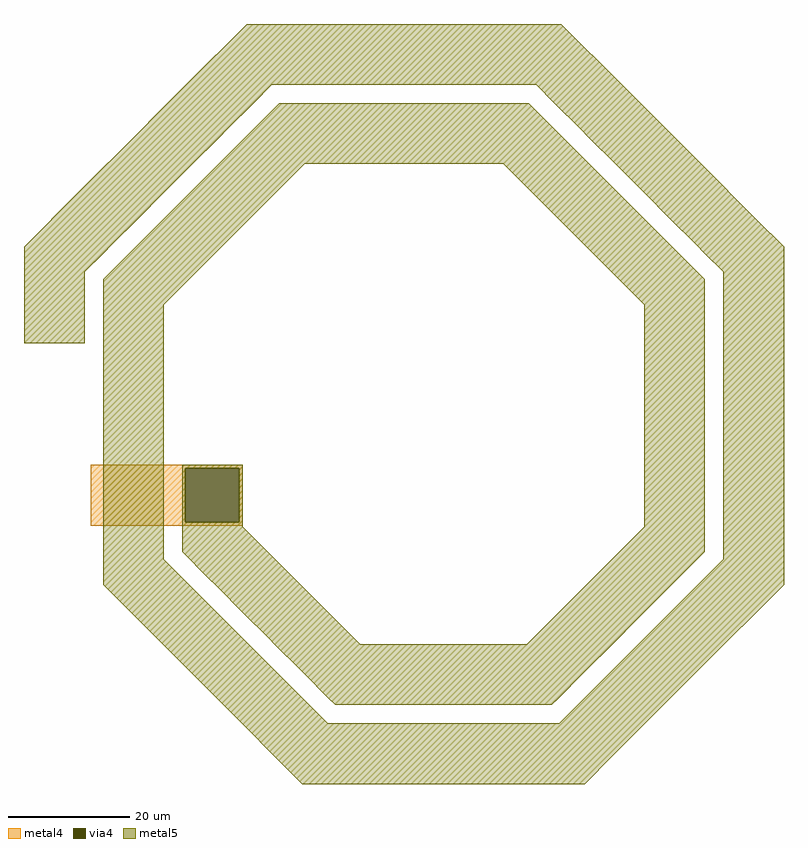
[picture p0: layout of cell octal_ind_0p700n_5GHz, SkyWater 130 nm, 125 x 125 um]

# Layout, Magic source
magic
tech sky130A
magscale 1 2
<< metal4 >>
rect -31600 -22112 -26600 -22000
rect -31600 -23888 -28488 -22112
rect -26712 -23888 -26600 -22112
rect -31600 -24000 -26600 -23888
<< via4 >>
rect -28488 -23888 -26712 -22112
<< metal5 >>
tri -28478 -9500 -26478 -7500 se
rect -26478 -9500 -16122 -7500
tri -16122 -9500 -14122 -7500 sw
tri -29200 -10222 -28478 -9500 se
rect -28478 -10100 -26249 -9500
tri -26249 -10100 -25649 -9500 nw
tri -16951 -10100 -16351 -9500 ne
rect -16351 -10100 -14122 -9500
rect -28478 -10222 -27097 -10100
tri -30230 -11252 -29200 -10222 se
rect -29200 -10948 -27097 -10222
tri -27097 -10948 -26249 -10100 nw
tri -26249 -10948 -25401 -10100 se
rect -25401 -10948 -17199 -10100
tri -17199 -10948 -16351 -10100 sw
tri -16351 -10948 -15503 -10100 ne
rect -15503 -10948 -14122 -10100
rect -29200 -11252 -27401 -10948
tri -27401 -11252 -27097 -10948 nw
tri -26553 -11252 -26249 -10948 se
rect -26249 -11252 -16351 -10948
tri -16351 -11252 -16047 -10948 sw
tri -15503 -11252 -15199 -10948 ne
rect -15199 -11252 -14122 -10948
tri -31800 -12822 -30230 -11252 se
rect -30230 -12100 -28249 -11252
tri -28249 -12100 -27401 -11252 nw
tri -27401 -12100 -26553 -11252 se
rect -26553 -12100 -16047 -11252
tri -16047 -12100 -15199 -11252 sw
tri -15199 -12100 -14351 -11252 ne
rect -14351 -12100 -14122 -11252
tri -14122 -12100 -11522 -9500 sw
rect -30230 -12822 -29097 -12100
tri -32029 -13051 -31800 -12822 se
rect -31800 -12948 -29097 -12822
tri -29097 -12948 -28249 -12100 nw
tri -28249 -12948 -27401 -12100 se
rect -31800 -13051 -29200 -12948
tri -29200 -13051 -29097 -12948 nw
tri -28352 -13051 -28249 -12948 se
rect -28249 -13051 -27401 -12948
tri -33800 -14822 -32029 -13051 se
rect -32029 -13899 -30048 -13051
tri -30048 -13899 -29200 -13051 nw
tri -29200 -13899 -28352 -13051 se
rect -28352 -13899 -27401 -13051
rect -32029 -14747 -30896 -13899
tri -30896 -14747 -30048 -13899 nw
tri -30048 -14747 -29200 -13899 se
rect -29200 -14747 -27401 -13899
rect -32029 -14822 -31200 -14747
rect -33800 -15051 -31200 -14822
tri -31200 -15051 -30896 -14747 nw
tri -30352 -15051 -30048 -14747 se
rect -30048 -14929 -27401 -14747
tri -27401 -14929 -24572 -12100 nw
tri -18028 -14929 -15199 -12100 ne
tri -15199 -12948 -14351 -12100 sw
tri -14351 -12948 -13503 -12100 ne
rect -13503 -12948 -11522 -12100
rect -15199 -13051 -14351 -12948
tri -14351 -13051 -14248 -12948 sw
tri -13503 -13051 -13400 -12948 ne
rect -13400 -13051 -11522 -12948
rect -15199 -13899 -14248 -13051
tri -14248 -13899 -13400 -13051 sw
tri -13400 -13899 -12552 -13051 ne
rect -12552 -13899 -11522 -13051
tri -11522 -13899 -9723 -12100 sw
rect -15199 -14747 -13400 -13899
tri -13400 -14747 -12552 -13899 sw
tri -12552 -14747 -11704 -13899 ne
rect -11704 -14747 -9723 -13899
rect -15199 -14929 -12552 -14747
rect -30048 -15051 -29200 -14929
rect -33800 -18000 -31800 -15051
tri -31800 -15651 -31200 -15051 nw
tri -31200 -15899 -30352 -15051 se
rect -30352 -15899 -29200 -15051
rect -31200 -25711 -29200 -15899
tri -29200 -16728 -27401 -14929 nw
tri -15199 -16728 -13400 -14929 ne
rect -13400 -15051 -12552 -14929
tri -12552 -15051 -12248 -14747 sw
tri -11704 -15051 -11400 -14747 ne
rect -11400 -14822 -9723 -14747
tri -9723 -14822 -8800 -13899 sw
rect -11400 -15051 -8800 -14822
rect -13400 -15899 -12248 -15051
tri -12248 -15899 -11400 -15051 sw
tri -11400 -15651 -10800 -15051 ne
rect -28600 -22112 -26600 -22000
rect -28600 -23888 -28488 -22112
rect -26712 -23888 -26600 -22112
rect -28600 -24862 -26600 -23888
tri -29200 -25711 -28600 -25111 sw
tri -28600 -25711 -27751 -24862 ne
rect -27751 -25711 -26600 -24862
rect -31200 -25939 -28600 -25711
tri -31200 -26862 -30277 -25939 ne
rect -30277 -26013 -28600 -25939
tri -28600 -26013 -28298 -25711 sw
tri -27751 -26013 -27449 -25711 ne
rect -27449 -26013 -26600 -25711
rect -30277 -26862 -28298 -26013
tri -28298 -26862 -27449 -26013 sw
tri -27449 -26862 -26600 -26013 ne
tri -26600 -26862 -23772 -24034 sw
tri -14438 -25072 -13400 -24034 se
rect -13400 -24862 -11400 -15899
rect -13400 -25072 -11649 -24862
tri -16228 -26862 -14438 -25072 se
rect -14438 -25111 -11649 -25072
tri -11649 -25111 -11400 -24862 nw
rect -14438 -25921 -12459 -25111
tri -12459 -25921 -11649 -25111 nw
tri -11610 -25921 -10800 -25111 se
rect -10800 -25921 -8800 -15051
rect -14438 -26770 -13308 -25921
tri -13308 -26770 -12459 -25921 nw
tri -12459 -26770 -11610 -25921 se
rect -11610 -25939 -8800 -25921
rect -14438 -26862 -13589 -26770
tri -30277 -29690 -27449 -26862 ne
tri -27449 -27711 -26600 -26862 sw
tri -26600 -27711 -25751 -26862 ne
rect -25751 -27711 -23772 -26862
rect -27449 -27900 -26600 -27711
tri -26600 -27900 -26411 -27711 sw
tri -25751 -27900 -25562 -27711 ne
rect -25562 -27900 -23772 -27711
tri -23772 -27900 -22734 -26862 sw
tri -17266 -27900 -16228 -26862 se
rect -16228 -27051 -13589 -26862
tri -13589 -27051 -13308 -26770 nw
tri -12740 -27051 -12459 -26770 se
rect -12459 -27051 -11610 -26770
rect -16228 -27900 -14438 -27051
tri -14438 -27900 -13589 -27051 nw
tri -13589 -27900 -12740 -27051 se
rect -12740 -27900 -11610 -27051
rect -27449 -28749 -26411 -27900
tri -26411 -28749 -25562 -27900 sw
tri -25562 -28749 -24713 -27900 ne
rect -24713 -28749 -15287 -27900
tri -15287 -28749 -14438 -27900 nw
tri -14438 -28749 -13589 -27900 se
rect -13589 -28749 -11610 -27900
tri -11610 -28749 -8800 -25939 nw
rect -27449 -28841 -25562 -28749
tri -25562 -28841 -25470 -28749 sw
tri -24713 -28841 -24621 -28749 ne
rect -24621 -28841 -15379 -28749
tri -15379 -28841 -15287 -28749 nw
tri -14530 -28841 -14438 -28749 se
rect -27449 -29690 -25470 -28841
tri -25470 -29690 -24621 -28841 sw
tri -24621 -29690 -23772 -28841 ne
rect -23772 -29690 -16228 -28841
tri -16228 -29690 -15379 -28841 nw
tri -15379 -29690 -14530 -28841 se
rect -14530 -29690 -14438 -28841
tri -27449 -32500 -24639 -29690 ne
rect -24639 -30500 -24621 -29690
tri -24621 -30500 -23811 -29690 sw
tri -23772 -29900 -23562 -29690 ne
rect -23562 -29900 -16438 -29690
tri -16438 -29900 -16228 -29690 nw
tri -16189 -30500 -15379 -29690 se
rect -15379 -30500 -14438 -29690
rect -24639 -31577 -14438 -30500
tri -14438 -31577 -11610 -28749 nw
rect -24639 -32500 -15361 -31577
tri -15361 -32500 -14438 -31577 nw
<< end >>
